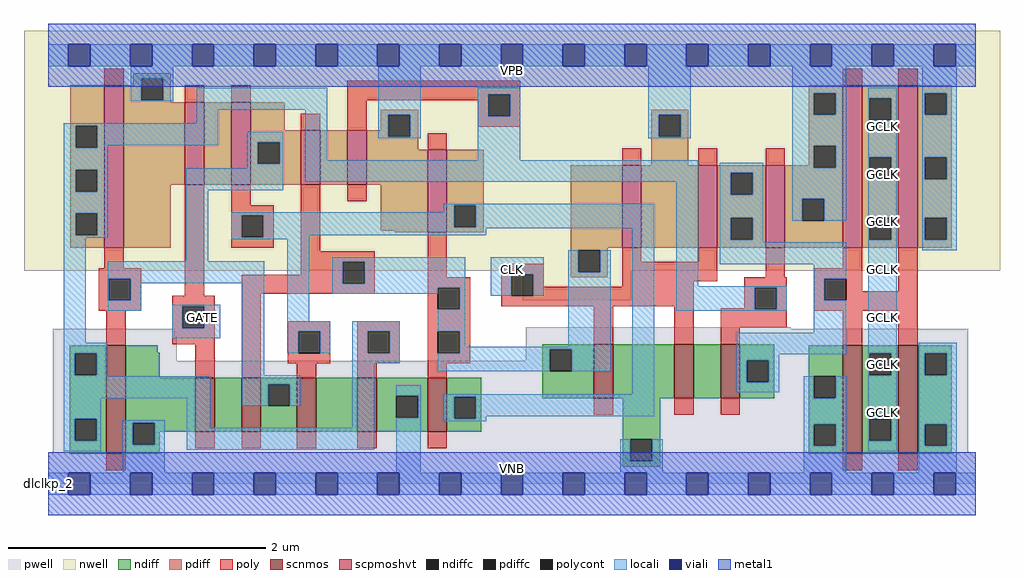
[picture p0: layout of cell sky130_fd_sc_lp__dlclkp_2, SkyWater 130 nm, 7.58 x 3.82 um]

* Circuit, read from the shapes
.subckt sky130_fd_sc_lp__dlclkp_2 CLK GATE VGND VNB VPB VPWR GCLK
XM1 VGND n1 n2 VNB sky130_fd_pr__nfet_01v8 w=0.84 l=0.15
XM2 n3 GATE VGND VNB sky130_fd_pr__nfet_01v8 w=0.42 l=0.15
XM3 n1 n4 n3 VNB sky130_fd_pr__nfet_01v8 w=0.42 l=0.15
XM4 n5 n6 n1 VNB sky130_fd_pr__nfet_01v8 w=0.42 l=0.15
XM5 VGND n2 n5 VNB sky130_fd_pr__nfet_01v8 w=0.42 l=0.15
XM6 n6 n4 VGND VNB sky130_fd_pr__nfet_01v8 w=0.42 l=0.15
XM7 VGND CLK n4 VNB sky130_fd_pr__nfet_01v8 w=0.42 l=0.15
XM8 n7 CLK VGND VNB sky130_fd_pr__nfet_01v8 w=0.42 l=0.15
XM9 n8 n2 n7 VNB sky130_fd_pr__nfet_01v8 w=0.42 l=0.15
XM10 GCLK n8 VGND VNB sky130_fd_pr__nfet_01v8 w=0.84 l=0.15 m=2
XM11 VPWR n1 n2 VPB sky130_fd_pr__pfet_01v8_hvt w=1.26 l=0.15
XM12 n9 GATE VPWR VPB sky130_fd_pr__pfet_01v8_hvt w=0.64 l=0.15
XM13 n1 n6 n9 VPB sky130_fd_pr__pfet_01v8_hvt w=0.64 l=0.15
XM14 n10 n4 n1 VPB sky130_fd_pr__pfet_01v8_hvt w=0.42 l=0.15
XM15 VPWR n2 n10 VPB sky130_fd_pr__pfet_01v8_hvt w=0.42 l=0.15
XM16 n6 n4 VPWR VPB sky130_fd_pr__pfet_01v8_hvt w=0.64 l=0.15
XM17 VPWR CLK n4 VPB sky130_fd_pr__pfet_01v8_hvt w=0.64 l=0.15
XM18 n8 CLK VPWR VPB sky130_fd_pr__pfet_01v8_hvt w=0.64 l=0.15
XM19 VPWR n2 n8 VPB sky130_fd_pr__pfet_01v8_hvt w=0.64 l=0.15
XM20 GCLK n8 VPWR VPB sky130_fd_pr__pfet_01v8_hvt w=1.26 l=0.15 m=2
.ends

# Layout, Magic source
magic
tech sky130A
magscale 1 2
<< nwell >>
rect -38 331 1478 704
rect 737 285 905 331
<< pwell >>
rect 741 241 1153 243
rect 7 230 196 241
rect 7 191 199 230
rect 741 191 1429 241
rect 7 49 1429 191
rect 0 0 1440 49
<< scnmos >>
rect 90 47 120 215
rect 228 81 258 165
rect 300 81 330 165
rect 386 81 416 165
rect 480 81 510 165
rect 589 81 619 165
rect 847 133 877 217
rect 972 133 1002 217
rect 1044 133 1074 217
rect 1234 47 1264 215
rect 1320 47 1350 215
<< scpmoshvt >>
rect 87 367 117 619
rect 212 465 242 593
rect 284 465 314 593
rect 392 465 422 549
rect 464 465 494 549
rect 589 391 619 519
rect 891 367 921 495
rect 1009 367 1039 495
rect 1114 367 1144 495
rect 1234 367 1264 619
rect 1320 367 1350 619
<< ndiff >>
rect 33 203 90 215
rect 33 169 41 203
rect 75 169 90 203
rect 33 101 90 169
rect 33 67 41 101
rect 75 67 90 101
rect 33 47 90 67
rect 120 204 170 215
rect 120 165 173 204
rect 767 209 847 217
rect 767 175 779 209
rect 813 175 847 209
rect 120 95 228 165
rect 120 61 131 95
rect 165 81 228 95
rect 258 81 300 165
rect 330 155 386 165
rect 330 121 341 155
rect 375 121 386 155
rect 330 81 386 121
rect 416 81 480 165
rect 510 137 589 165
rect 510 103 540 137
rect 574 103 589 137
rect 510 81 589 103
rect 619 135 672 165
rect 619 101 630 135
rect 664 101 672 135
rect 767 133 847 175
rect 877 133 972 217
rect 1002 133 1044 217
rect 1074 192 1127 217
rect 1074 158 1085 192
rect 1119 158 1127 192
rect 1074 133 1127 158
rect 1181 167 1234 215
rect 1181 133 1189 167
rect 1223 133 1234 167
rect 619 81 672 101
rect 165 61 173 81
rect 120 47 173 61
rect 892 69 950 133
rect 892 35 904 69
rect 938 35 950 69
rect 1181 93 1234 133
rect 1181 59 1189 93
rect 1223 59 1234 93
rect 1181 47 1234 59
rect 1264 203 1320 215
rect 1264 169 1275 203
rect 1309 169 1320 203
rect 1264 101 1320 169
rect 1264 67 1275 101
rect 1309 67 1320 101
rect 1264 47 1320 67
rect 1350 203 1403 215
rect 1350 169 1361 203
rect 1395 169 1403 203
rect 1350 93 1403 169
rect 1350 59 1361 93
rect 1395 59 1403 93
rect 1350 47 1403 59
rect 892 27 950 35
<< pdiff >>
rect 132 630 190 638
rect 132 619 144 630
rect 34 556 87 619
rect 34 522 42 556
rect 76 522 87 556
rect 34 488 87 522
rect 34 454 42 488
rect 76 454 87 488
rect 34 420 87 454
rect 34 386 42 420
rect 76 386 87 420
rect 34 367 87 386
rect 117 596 144 619
rect 178 596 190 630
rect 117 593 190 596
rect 117 465 212 593
rect 242 465 284 593
rect 314 549 367 593
rect 516 573 574 581
rect 516 549 528 573
rect 314 531 392 549
rect 314 497 325 531
rect 359 497 392 531
rect 314 465 392 497
rect 422 465 464 549
rect 494 539 528 549
rect 562 539 574 573
rect 1181 607 1234 619
rect 936 573 994 581
rect 494 519 574 539
rect 936 539 948 573
rect 982 539 994 573
rect 494 465 589 519
rect 117 367 190 465
rect 516 393 589 465
rect 539 391 589 393
rect 619 433 676 519
rect 936 495 994 539
rect 1181 573 1189 607
rect 1223 573 1234 607
rect 1181 525 1234 573
rect 1181 495 1189 525
rect 619 399 630 433
rect 664 399 676 433
rect 619 391 676 399
rect 811 367 891 495
rect 921 367 1009 495
rect 1039 483 1114 495
rect 1039 449 1060 483
rect 1094 449 1114 483
rect 1039 413 1114 449
rect 1039 379 1060 413
rect 1094 379 1114 413
rect 1039 367 1114 379
rect 1144 491 1189 495
rect 1223 491 1234 525
rect 1144 443 1234 491
rect 1144 409 1171 443
rect 1205 409 1234 443
rect 1144 367 1234 409
rect 1264 599 1320 619
rect 1264 565 1275 599
rect 1309 565 1320 599
rect 1264 507 1320 565
rect 1264 473 1275 507
rect 1309 473 1320 507
rect 1264 413 1320 473
rect 1264 379 1275 413
rect 1309 379 1320 413
rect 1264 367 1320 379
rect 1350 607 1403 619
rect 1350 573 1361 607
rect 1395 573 1403 607
rect 1350 507 1403 573
rect 1350 473 1361 507
rect 1395 473 1403 507
rect 1350 413 1403 473
rect 1350 379 1361 413
rect 1395 379 1403 413
rect 1350 367 1403 379
rect 811 363 869 367
rect 811 329 823 363
rect 857 329 869 363
rect 811 321 869 329
<< ndiffc >>
rect 41 169 75 203
rect 41 67 75 101
rect 779 175 813 209
rect 131 61 165 95
rect 341 121 375 155
rect 540 103 574 137
rect 630 101 664 135
rect 1085 158 1119 192
rect 1189 133 1223 167
rect 904 35 938 69
rect 1189 59 1223 93
rect 1275 169 1309 203
rect 1275 67 1309 101
rect 1361 169 1395 203
rect 1361 59 1395 93
<< pdiffc >>
rect 42 522 76 556
rect 42 454 76 488
rect 42 386 76 420
rect 144 596 178 630
rect 325 497 359 531
rect 528 539 562 573
rect 948 539 982 573
rect 1189 573 1223 607
rect 630 399 664 433
rect 1060 449 1094 483
rect 1060 379 1094 413
rect 1189 491 1223 525
rect 1171 409 1205 443
rect 1275 565 1309 599
rect 1275 473 1309 507
rect 1275 379 1309 413
rect 1361 573 1395 607
rect 1361 473 1395 507
rect 1361 379 1395 413
rect 823 329 857 363
<< poly >>
rect 87 619 117 645
rect 212 593 242 619
rect 284 593 314 619
rect 464 605 733 626
rect 1234 619 1264 645
rect 1320 619 1350 645
rect 464 596 683 605
rect 392 549 422 575
rect 464 549 494 596
rect 667 571 683 596
rect 717 571 733 605
rect 667 555 733 571
rect 589 519 619 545
rect 87 335 117 367
rect 78 319 144 335
rect 78 285 94 319
rect 128 285 144 319
rect 212 292 242 465
rect 284 433 314 465
rect 284 417 350 433
rect 284 383 300 417
rect 334 383 350 417
rect 284 367 350 383
rect 392 361 422 465
rect 464 439 494 465
rect 891 495 921 521
rect 1009 495 1039 521
rect 1114 495 1144 521
rect 392 345 507 361
rect 392 325 457 345
rect 300 311 457 325
rect 491 311 507 345
rect 300 295 507 311
rect 589 321 619 391
rect 703 326 769 342
rect 589 305 655 321
rect 78 269 144 285
rect 192 276 258 292
rect 90 215 120 269
rect 192 242 208 276
rect 242 242 258 276
rect 192 217 258 242
rect 228 165 258 217
rect 300 165 330 295
rect 589 271 605 305
rect 639 271 655 305
rect 703 292 719 326
rect 753 306 769 326
rect 891 345 921 367
rect 1009 345 1039 367
rect 891 315 1039 345
rect 1114 321 1144 367
rect 1234 335 1264 367
rect 891 306 1002 315
rect 753 292 1002 306
rect 703 276 1002 292
rect 372 237 438 253
rect 372 203 388 237
rect 422 203 438 237
rect 372 187 438 203
rect 480 237 546 253
rect 480 203 496 237
rect 530 203 546 237
rect 480 187 546 203
rect 589 237 655 271
rect 589 203 605 237
rect 639 203 655 237
rect 847 217 877 276
rect 972 217 1002 276
rect 1081 305 1147 321
rect 1081 273 1097 305
rect 1044 271 1097 273
rect 1131 271 1147 305
rect 1044 243 1147 271
rect 1189 319 1264 335
rect 1189 285 1205 319
rect 1239 299 1264 319
rect 1320 299 1350 367
rect 1239 285 1350 299
rect 1189 269 1350 285
rect 1044 217 1074 243
rect 589 187 655 203
rect 386 165 416 187
rect 480 165 510 187
rect 589 165 619 187
rect 1234 215 1264 269
rect 1320 215 1350 269
rect 847 107 877 133
rect 228 55 258 81
rect 300 55 330 81
rect 386 55 416 81
rect 480 55 510 81
rect 589 55 619 81
rect 972 107 1002 133
rect 1044 107 1074 133
rect 90 21 120 47
rect 1234 21 1264 47
rect 1320 21 1350 47
<< polycont >>
rect 683 571 717 605
rect 94 285 128 319
rect 300 383 334 417
rect 457 311 491 345
rect 208 242 242 276
rect 605 271 639 305
rect 719 292 753 326
rect 388 203 422 237
rect 496 203 530 237
rect 605 203 639 237
rect 1097 271 1131 305
rect 1205 285 1239 319
<< locali >>
rect 0 649 31 683
rect 65 649 127 683
rect 161 649 223 683
rect 257 649 319 683
rect 353 649 415 683
rect 449 649 511 683
rect 545 649 607 683
rect 641 649 703 683
rect 737 649 799 683
rect 833 649 895 683
rect 929 649 991 683
rect 1025 649 1087 683
rect 1121 649 1183 683
rect 1217 649 1279 683
rect 1313 649 1375 683
rect 1409 649 1440 683
rect 128 630 194 649
rect 128 596 144 630
rect 178 596 194 630
rect 128 594 194 596
rect 230 581 433 615
rect 230 560 264 581
rect 24 556 264 560
rect 24 522 42 556
rect 76 526 264 556
rect 309 531 365 547
rect 76 522 92 526
rect 24 488 92 522
rect 309 497 325 531
rect 359 497 365 531
rect 309 490 365 497
rect 24 454 42 488
rect 76 454 92 488
rect 24 420 92 454
rect 24 386 42 420
rect 76 386 92 420
rect 24 382 92 386
rect 214 456 365 490
rect 399 503 433 581
rect 512 573 578 649
rect 512 539 528 573
rect 562 539 578 573
rect 512 537 578 539
rect 667 605 733 615
rect 667 571 683 605
rect 717 571 733 605
rect 667 503 733 571
rect 932 573 998 649
rect 932 539 948 573
rect 982 539 998 573
rect 932 537 998 539
rect 1155 607 1239 649
rect 1155 573 1189 607
rect 1223 573 1239 607
rect 1155 525 1239 573
rect 399 469 1009 503
rect 24 219 58 382
rect 214 346 248 456
rect 614 433 941 435
rect 614 422 630 433
rect 284 417 630 422
rect 284 383 300 417
rect 334 399 630 417
rect 664 399 941 433
rect 334 397 941 399
rect 334 386 680 397
rect 334 383 405 386
rect 284 380 405 383
rect 92 319 335 346
rect 92 285 94 319
rect 128 312 335 319
rect 128 285 144 312
rect 92 269 144 285
rect 192 276 267 278
rect 192 242 208 276
rect 242 242 267 276
rect 192 226 267 242
rect 24 203 91 219
rect 24 169 41 203
rect 75 169 91 203
rect 24 167 91 169
rect 301 169 335 312
rect 371 253 405 380
rect 441 345 647 352
rect 441 311 457 345
rect 491 311 647 345
rect 441 305 647 311
rect 441 295 605 305
rect 639 271 647 305
rect 687 326 769 352
rect 687 292 719 326
rect 753 292 769 326
rect 807 329 823 363
rect 857 329 873 363
rect 371 237 438 253
rect 371 203 388 237
rect 422 203 438 237
rect 472 237 546 253
rect 472 203 496 237
rect 530 203 546 237
rect 472 187 546 203
rect 605 237 647 271
rect 639 213 647 237
rect 807 213 873 329
rect 639 209 873 213
rect 639 203 779 209
rect 24 133 251 167
rect 24 101 81 133
rect 24 67 41 101
rect 75 67 81 101
rect 24 51 81 67
rect 115 95 181 99
rect 115 61 131 95
rect 165 61 181 95
rect 115 17 181 61
rect 215 87 251 133
rect 301 155 391 169
rect 301 121 341 155
rect 375 121 391 155
rect 472 87 506 187
rect 605 175 779 203
rect 813 175 873 209
rect 215 53 506 87
rect 540 137 578 153
rect 907 139 941 397
rect 975 307 1009 469
rect 1043 483 1110 499
rect 1043 449 1060 483
rect 1094 449 1110 483
rect 1043 413 1110 449
rect 1043 379 1060 413
rect 1094 379 1110 413
rect 1155 491 1189 525
rect 1223 491 1239 525
rect 1155 443 1239 491
rect 1155 409 1171 443
rect 1205 409 1239 443
rect 1273 599 1318 615
rect 1273 565 1275 599
rect 1309 565 1318 599
rect 1273 507 1318 565
rect 1273 473 1275 507
rect 1309 473 1318 507
rect 1273 413 1318 473
rect 1043 375 1110 379
rect 1273 379 1275 413
rect 1309 379 1318 413
rect 1043 341 1239 375
rect 1189 319 1239 341
rect 975 305 1147 307
rect 975 271 1097 305
rect 1131 271 1147 305
rect 975 269 1147 271
rect 1189 285 1205 319
rect 1189 235 1239 285
rect 1069 201 1239 235
rect 1273 203 1318 379
rect 1357 607 1411 649
rect 1357 573 1361 607
rect 1395 573 1411 607
rect 1357 507 1411 573
rect 1357 473 1361 507
rect 1395 473 1411 507
rect 1357 413 1411 473
rect 1357 379 1361 413
rect 1395 379 1411 413
rect 1357 363 1411 379
rect 1069 192 1135 201
rect 1069 158 1085 192
rect 1119 158 1135 192
rect 1273 169 1275 203
rect 1309 169 1318 203
rect 1069 142 1135 158
rect 574 103 578 137
rect 540 17 578 103
rect 614 135 941 139
rect 614 101 630 135
rect 664 105 941 135
rect 1173 133 1189 167
rect 1223 133 1239 167
rect 664 101 680 105
rect 614 97 680 101
rect 1173 93 1239 133
rect 888 35 904 69
rect 938 35 954 69
rect 888 17 954 35
rect 1173 59 1189 93
rect 1223 59 1239 93
rect 1173 17 1239 59
rect 1273 101 1318 169
rect 1273 67 1275 101
rect 1309 67 1318 101
rect 1273 51 1318 67
rect 1352 203 1411 219
rect 1352 169 1361 203
rect 1395 169 1411 203
rect 1352 93 1411 169
rect 1352 59 1361 93
rect 1395 59 1411 93
rect 1352 17 1411 59
rect 0 -17 31 17
rect 65 -17 127 17
rect 161 -17 223 17
rect 257 -17 319 17
rect 353 -17 415 17
rect 449 -17 511 17
rect 545 -17 607 17
rect 641 -17 703 17
rect 737 -17 799 17
rect 833 -17 895 17
rect 929 -17 991 17
rect 1025 -17 1087 17
rect 1121 -17 1183 17
rect 1217 -17 1279 17
rect 1313 -17 1375 17
rect 1409 -17 1440 17
<< viali >>
rect 31 649 65 683
rect 127 649 161 683
rect 223 649 257 683
rect 319 649 353 683
rect 415 649 449 683
rect 511 649 545 683
rect 607 649 641 683
rect 703 649 737 683
rect 799 649 833 683
rect 895 649 929 683
rect 991 649 1025 683
rect 1087 649 1121 683
rect 1183 649 1217 683
rect 1279 649 1313 683
rect 1375 649 1409 683
rect 31 -17 65 17
rect 127 -17 161 17
rect 223 -17 257 17
rect 319 -17 353 17
rect 415 -17 449 17
rect 511 -17 545 17
rect 607 -17 641 17
rect 703 -17 737 17
rect 799 -17 833 17
rect 895 -17 929 17
rect 991 -17 1025 17
rect 1087 -17 1121 17
rect 1183 -17 1217 17
rect 1279 -17 1313 17
rect 1375 -17 1409 17
<< metal1 >>
rect 0 683 1440 715
rect 0 649 31 683
rect 65 649 127 683
rect 161 649 223 683
rect 257 649 319 683
rect 353 649 415 683
rect 449 649 511 683
rect 545 649 607 683
rect 641 649 703 683
rect 737 649 799 683
rect 833 649 895 683
rect 929 649 991 683
rect 1025 649 1087 683
rect 1121 649 1183 683
rect 1217 649 1279 683
rect 1313 649 1375 683
rect 1409 649 1440 683
rect 0 617 1440 649
rect 0 17 1440 49
rect 0 -17 31 17
rect 65 -17 127 17
rect 161 -17 223 17
rect 257 -17 319 17
rect 353 -17 415 17
rect 449 -17 511 17
rect 545 -17 607 17
rect 641 -17 703 17
rect 737 -17 799 17
rect 833 -17 895 17
rect 929 -17 991 17
rect 1025 -17 1087 17
rect 1121 -17 1183 17
rect 1217 -17 1279 17
rect 1313 -17 1375 17
rect 1409 -17 1440 17
rect 0 -49 1440 -17
<< labels >>
flabel pwell s 0 0 1440 49 0 FreeSans 200 0 0 0 VNB
port 4 nsew ground bidirectional
flabel nwell s 0 617 1440 666 0 FreeSans 200 0 0 0 VPB
port 5 nsew power bidirectional
rlabel comment s 0 0 0 0 4 dlclkp_2
flabel metal1 s 0 617 1440 666 0 FreeSans 340 0 0 0 VPWR
port 6 nsew power bidirectional
flabel metal1 s 0 0 1440 49 0 FreeSans 340 0 0 0 VGND
port 3 nsew ground bidirectional
flabel locali s 703 316 737 350 0 FreeSans 340 0 0 0 CLK
port 1 nsew clock input
flabel locali s 223 242 257 276 0 FreeSans 340 0 0 0 GATE
port 2 nsew signal input
flabel locali s 1279 94 1313 128 0 FreeSans 340 0 0 0 GCLK
port 7 nsew signal output
flabel locali s 1279 168 1313 202 0 FreeSans 340 0 0 0 GCLK
port 7 nsew signal output
flabel locali s 1279 242 1313 276 0 FreeSans 340 0 0 0 GCLK
port 7 nsew signal output
flabel locali s 1279 316 1313 350 0 FreeSans 340 0 0 0 GCLK
port 7 nsew signal output
flabel locali s 1279 390 1313 424 0 FreeSans 340 0 0 0 GCLK
port 7 nsew signal output
flabel locali s 1279 464 1313 498 0 FreeSans 340 0 0 0 GCLK
port 7 nsew signal output
flabel locali s 1279 538 1313 572 0 FreeSans 340 0 0 0 GCLK
port 7 nsew signal output
<< properties >>
string LEFsite unit
string LEFclass CORE
string FIXED_BBOX 0 0 1440 666
string GDS_FILE $PDKPATH/libs.ref/sky130_fd_sc_lp/gds/sky130_fd_sc_lp.gds
string LEFsymmetry X Y R90
string GDS_END 3513240
string GDS_START 3501994
<< end >>
